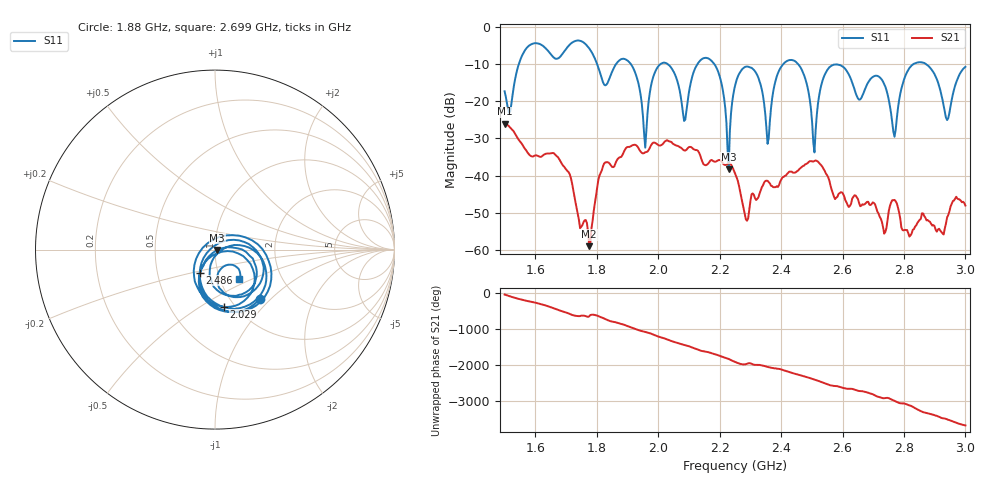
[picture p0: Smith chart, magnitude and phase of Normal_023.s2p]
# HZ S RI R 50
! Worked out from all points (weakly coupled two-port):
!   404 points, 1.5 GHz to 3 GHz, reference 50 ohm
!   highest |S21| = -25.99 dB at 1.5 GHz (marker M1); lowest = -59.1 dB at 1.775 GHz (marker M2)
!   lowest |S11| = -38.3 dB at 2.23 GHz (marker M3), VSWR 1.02, Z = 51.2 - j0.273 ohm
!   |S11| at or under -10 dB: 2.183 GHz to 2.406 GHz (223.3 MHz wide, 9.73 % of centre); 2.456 GHz to 2.83 GHz (373.8 MHz wide, 14.1 % of centre); 2.873 GHz to end of sweep (the widest 3 of 7)
!   S12 and S22 are empty: the file has one direction only
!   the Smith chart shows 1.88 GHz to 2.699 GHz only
!   S11 on the Smith chart (normalised r, x): 1.88 GHz: 1.34, -0.86; 2.029 GHz: 0.89, -0.64; 2.486 GHz: 0.82, -0.22; 2.699 GHz: 1.23, -0.43
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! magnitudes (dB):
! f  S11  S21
! 1.5 GHz  -17.3  -26.0
! 1.753 GHz  -3.9  -53.4
! 1.775 GHz  -5.7  -59.1
! 1.88 GHz  -8.6  -35.0
! 1.958 GHz  -32.5  -33.7
! 2.002 GHz  -10.3  -31.9
! 2.029 GHz  -9.8  -30.5
! 2.084 GHz  -25.3  -33.2
! 2.177 GHz  -9.4  -36.0
! 2.23 GHz  -38.3  -36.7
! 2.252 GHz  -15.2  -39.8
! 2.289 GHz  -10.6  -52.2
! 2.356 GHz  -31.5  -41.4
! 2.408 GHz  -9.8  -40.4
! 2.486 GHz  -16.3  -36.7
! 2.501 GHz  -25.9  -36.2
! 2.561 GHz  -10.6  -42.7
! 2.699 GHz  -13.4  -47.2
! 2.751 GHz  -19.6  -49.5
! 2.862 GHz  -9.5  -50.2
! 2.94 GHz  -25.0  -51.3
! 3 GHz  -10.7  -48.1
